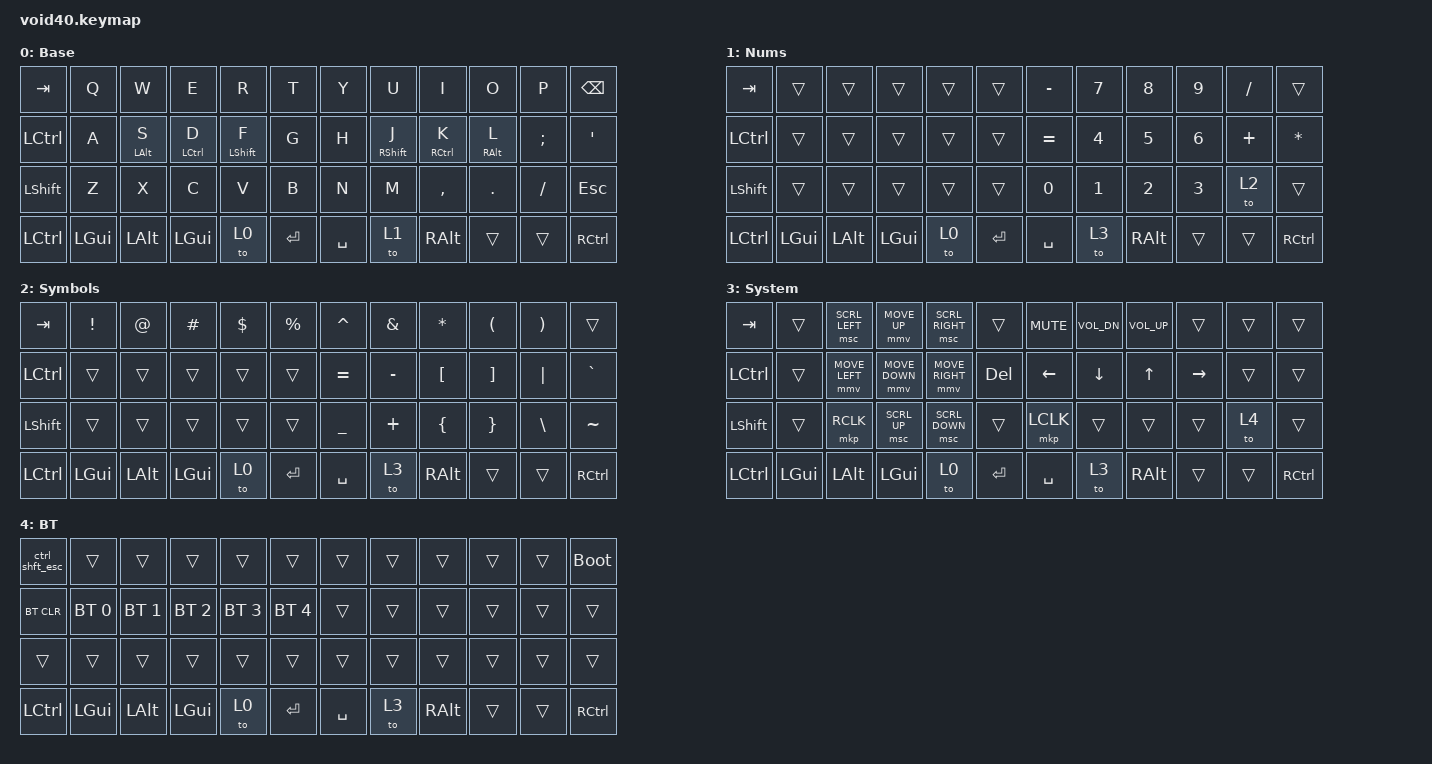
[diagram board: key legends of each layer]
/*
 * Copyright (c) 2020 The ZMK Contributors
 *
 * SPDX-License-Identifier: MIT
 */

#include <behaviors.dtsi>
#include <dt-bindings/zmk/keys.h>
#include <dt-bindings/zmk/bt.h>
#include <dt-bindings/zmk/mouse.h>
#include <behaviors/mouse_move.dtsi>
#include <behaviors/mouse_scroll.dtsi>

/ {
        behaviors {

                //////////////////////////////////////////////////////////////////////////
                //
                // Miryoku layers and home row mods (ported from my QMK endgame)
                // - https://sunaku.github.io/home-row-mods.html#porting-to-zmk
                // - https://github.com/urob/zmk-config#timeless-homerow-mods
                //
                //////////////////////////////////////////////////////////////////////////

                //
                // HOMEY_HOLDING_TYPE defines the flavor of ZMK hold-tap behavior to use
                // for the pinky, ring, and middle fingers (which are assigned to Super,
                // Alt, and Ctrl respectively in the Miryoku system) on home row keys.
                //
                #ifndef HOMEY_HOLDING_TYPE
                #define HOMEY_HOLDING_TYPE "tap-preferred"
                #endif

                //
                // HOMEY_HOLDING_TIME defines how long you need to hold (milliseconds)
                // home row mod keys in order to send their modifiers to the computer
                // (i.e. "register" them) for mod-click mouse usage (e.g. Ctrl-Click).
                //
                #ifndef HOMEY_HOLDING_TIME
                #define HOMEY_HOLDING_TIME 270 // TAPPING_TERM + ALLOW_CROSSOVER_AFTER
                #endif

                //
                // HOMEY_STREAK_DECAY defines how long you need to wait (milliseconds)
                // after typing before you can use home row mods again.  It prevents
                // unintended activation of home row mods when you're actively typing.
                //
                #ifndef HOMEY_STREAK_DECAY
                #define HOMEY_STREAK_DECAY 170 // global-quick-tap-ms
                #endif

                //
                // HOMEY_REPEAT_DECAY defines how much time you have left (milliseconds)
                // after tapping a key to hold it again in order to make it auto-repeat.
                //
                #ifndef HOMEY_REPEAT_DECAY
                #define HOMEY_REPEAT_DECAY 300 // "tap then hold" for key auto-repeat
                #endif

                //
                // SHIFT_HOLDING_TYPE defines the flavor of ZMK hold-tap behavior to use
                // for index fingers (which Miryoku assigns to Shift) on home row keys.
                //
                // NOTE: The "tap-preferred" flavor of ZMK hold-tap for index finger keys
                // allows faster activation of the Shift modifier (without having to wait
                // for the modified key to be released as the "balanced" flavor requires).
                // Typing streaks and the `hold-trigger-on-release` setting are disabled
                // for the index fingers so as not to hinder their speed and dexterity.
                //
                #ifndef SHIFT_HOLDING_TYPE
                #define SHIFT_HOLDING_TYPE "tap-preferred"
                #endif

                //
                // SHIFT_HOLDING_TIME defines how long you need to hold (milliseconds)
                // index finger keys in order to send their modifiers to the computer
                // (i.e. "register" them) for mod-click mouse usage (e.g. Shift-Click).
                //
                // CAUTION: You'll need to perform inward rolls from pinky->ring->middle
                // fingers toward the index fingers when activating multiple modifiers
                // because `hold-trigger-on-release` is disabled for the index fingers.
                // Otherwise, you may be surprised that the index fingers' modifier is
                // sent immediately without the rest of your multi-mod chord when you
                // perform outward rolls from your index fingers toward your pinkies.
                //
                #ifndef SHIFT_HOLDING_TIME
                #define SHIFT_HOLDING_TIME 170
                #endif

                //
                // SHIFT_STREAK_DECAY defines how long you need to wait (milliseconds)
                // after typing before you can use home row mods again.  It prevents
                // unintended activation of home row mods when you're actively typing.
                //
                #ifndef SHIFT_STREAK_DECAY
                #define SHIFT_STREAK_DECAY 70 // global-quick-tap-ms
                #endif

                //
                // SHIFT_REPEAT_DECAY defines how much time you have left (milliseconds)
                // after tapping a key to hold it again in order to make it auto-repeat.
                //
                #ifndef SHIFT_REPEAT_DECAY
                #define SHIFT_REPEAT_DECAY 300 // "tap then hold" for key auto-repeat
                #endif

                //
                // THUMB_HOLDING_TYPE defines the flavor of ZMK hold-tap behavior to use
                // for the thumbs (which are assigned to 6 layers in the Miryoku system).
                //
                // NOTE: The "balanced" flavor of ZMK hold-tap provides instant modifier
                // activation for the symbol layer (if the tapped symbol key is released
                // while the thumb layer key is still held down) for quicker programming.
                //
                #ifndef THUMB_HOLDING_TYPE
                #define THUMB_HOLDING_TYPE "balanced"
                #endif

                //
                // THUMB_HOLDING_TIME defines how long you need to hold (milliseconds)
                // a thumb key to activate a layer.  Shorter holds are treated as taps.
                //
                #ifndef THUMB_HOLDING_TIME
                #define THUMB_HOLDING_TIME 200
                #endif

                //
                // THUMB_REPEAT_DECAY defines how much time you have left (milliseconds)
                // after tapping a key to hold it again in order to make it auto-repeat.
                //
                #ifndef THUMB_REPEAT_DECAY
                #define THUMB_REPEAT_DECAY 300 // "tap then hold" for key auto-repeat
                #endif

                //
                // SPACE_HOLDING_TIME defines how long you need to hold (milliseconds)
                // the space thumb key to activate.  Shorter holds are treated as taps.
                //
                #ifndef SPACE_HOLDING_TIME
                #define SPACE_HOLDING_TIME 170
                #endif

                //
                // SPACE_REPEAT_DECAY defines how much time you have left (milliseconds)
                // after tapping a key to hold it again in order to make it auto-repeat.
                //
                #ifndef SPACE_REPEAT_DECAY
                #define SPACE_REPEAT_DECAY 200 // "tap then hold" for key auto-repeat
                #endif

                //
                // Corne key positions index for positional hold-tap
                // - https://discord.com/channels/877392805654306816/937645688244826154/1066713913351221248
                // - https://media.discordapp.net/attachments/937645688244826154/1066713913133121556/image.png
                //
                // |------------------------|------------------------|
                // | LEFT_HAND_KEYS         |        RIGHT_HAND_KEYS |
                // |                        |                        |
                // |  0  1  2  3  4  5      |      6  7  8  9  10 11 |
                // | 12 13 14 15 16 17      |      18 19 20 21 22 23 |
                // | 24 25 26 27 28 29      |      30 31 32 33 34 35 |
                // | 36 37 38 39 40 41      |      42 43 44 45 46 47 |
                // |------------------------|------------------------|
                //
                #define LEFT_HAND_KEYS         \
                         0  1  2  3  4  5      \
                        12 13 14 15 16 17      \
                        24 25 26 27 28 29      \
                #define RIGHT_HAND_KEYS        \
                                         6  7  8  9 10 11 \
                                        18 19 20 21 22 23 \
                                        30 31 32 33 34 35 \
                #define THUMB_KEYS          \
                                36 37 38 39 40 41   42 43 44 45 46 47          \

                //
                // Home row mod-tap keys for all except index fingers
                //
                hml: corne_home_row_mods_left_hand {
                        compatible = "zmk,behavior-hold-tap";
                        label = "HOME_ROW_MODS_LEFT_HAND";
                        flavor = HOMEY_HOLDING_TYPE;
                        hold-trigger-key-positions = <6  7  8  9 10 11
                                                     18 19 20 21 22 23
                                                     30 31 32 33 34 35
                                                     36 37 38 39 40 41 42 43 44 45 46 47>;
                        hold-trigger-on-release; // wait for other home row mods
                        tapping-term-ms = <HOMEY_HOLDING_TIME>;
                        quick-tap-ms = <HOMEY_REPEAT_DECAY>;
                        require-prior-idle-ms = <HOMEY_STREAK_DECAY>;
                        #binding-cells = <2>;
                        bindings = <&kp>, <&kp>;
                };
                 hmr: corne_home_row_mods_right_hand {
                        compatible = "zmk,behavior-hold-tap";
                        label = "HOME_ROW_MODS_RIGHT_HAND";
                        flavor = HOMEY_HOLDING_TYPE;
                        hold-trigger-key-positions = <0  1  2  3  4  5
                                                     12 13 14 15 16 17
                                                     24 25 26 27 28 29
                                                     36 37 38 39 40 41 42 43 44 45 46 47>;
                        hold-trigger-on-release; // wait for other home row mods
                        tapping-term-ms = <HOMEY_HOLDING_TIME>;
                        quick-tap-ms = <HOMEY_REPEAT_DECAY>;
                        require-prior-idle-ms = <HOMEY_STREAK_DECAY>;
                        #binding-cells = <2>;
                        bindings = <&kp>, <&kp>;
                 };

                //
                // Special home row mod-tap keys for the index fingers
                //
                shl: corne_home_row_mods_left_shift_shift {
                        compatible = "zmk,behavior-hold-tap";
                        label = "HOME_ROW_MODS_LEFT_SHIFT_SHIFT";
                        flavor = SHIFT_HOLDING_TYPE;
                        hold-trigger-key-positions = <6  7  8  9 10 11
                                                     18 19 20 21 22 23
                                                     30 31 32 33 34 35
                                                     36 37 38 39 40 41 42 43 44 45 46 47>;
                        //hold-trigger-on-release; // don't wait for other mods
                        tapping-term-ms = <SHIFT_HOLDING_TIME>;
                        quick-tap-ms = <SHIFT_REPEAT_DECAY>;
                        require-prior-idle-ms = <SHIFT_STREAK_DECAY>;
                        #binding-cells = <2>;
                        bindings = <&kp>, <&kp>;
                };
                shr: corne_home_row_mods_right_shift_shift {
                        compatible = "zmk,behavior-hold-tap";
                        label = "HOME_ROW_MODS_RIGHT_SHIFT_SHIFT";
                        flavor = SHIFT_HOLDING_TYPE;
                        hold-trigger-key-positions = <0  1  2  3  4  5
                                                     12 13 14 15 16 17
                                                     24 25 26 27 28 29
                                                     36 37 38 39 40 41 42 43 44 45 46 47>;
                        //hold-trigger-on-release; // don't wait for other mods
                        tapping-term-ms = <SHIFT_HOLDING_TIME>;
                        quick-tap-ms = <SHIFT_REPEAT_DECAY>;
                        require-prior-idle-ms = <SHIFT_STREAK_DECAY>;
                        #binding-cells = <2>;
                        bindings = <&kp>, <&kp>;
                };
        };

        macros {
                ctrl_shft_esc: ctrl_shft_esc {
                        compatible = "zmk,behavior-macro";
                        #binding-cells = <0>;
                        bindings
                                = <&macro_press &kp LCTRL &kp LSHFT>
                                , <&macro_tap &kp ESC>
                                , <&macro_release &kp LCTRL &kp LSHFT>
                                ;
                        };
                };

        combos {
                compatible = "zmk,combos";
                combo_tab {
                        timeout-ms = <50>;
                        key-positions = <1 2>;
                        bindings = <&kp TAB>;
                };
                combo_bspc {
                        timeout-ms = <50>;
                        key-positions = <9 10>;
                        bindings = <&kp BSPC>;
                };
                combo_sqt {
                        timeout-ms = <50>;
                        key-positions = <21 22>;
                        bindings = <&kp SQT>;
                };
                combo_esc {
                        timeout-ms = <50>;
                        key-positions = <33 34>;
                        bindings = <&kp ESC>;
                };
        };

        keymap {
                compatible = "zmk,keymap";

                default_layer {
// -----------------------------------------------------------------------------------------
// |  TAB |  Q  |  W  |  E  |  R  |  T  |   |  Y  |  U  |  I  |  O  |  P  | BKSP |
// | CTRL |  A  |LAL S|LCT D|LSH F|  G  |   |  H  |RSH J|RCT K|RAL L|  ;  |  '   |
// | SHFT |  Z  |  X  |  C  |  V  |  B  |   |  N  |  M  |  ,  |  .  |  /  | ESC  |
// | CTRL | GUI |LALT | GUI | L-0 | ENT |   | SPC | L-1 | ALT |     |     | CTRL |
                        label = "Base";
                        bindings = <
   &kp TAB    &kp Q     &kp W       &kp E        &kp R         &kp T      &kp Y      &kp U         &kp I        &kp O       &kp P     &kp BSPC
   &kp LCTRL  &kp A     &hml LALT S  &hml LCTRL D  &hml LSHIFT F  &kp G      &kp H      &hmr RSHIFT J  &hmr RCTRL K  &hmr RALT L  &kp SEMI  &kp SQT
   &kp LSHFT  &kp Z     &kp X       &kp C        &kp V         &kp B      &kp N      &kp M         &kp COMMA    &kp DOT     &kp FSLH  &kp ESC
   &kp LCTRL  &kp LGUI  &kp LALT    &kp LGUI     &to 0         &kp RET    &kp SPACE  &to 1         &kp RALT     &trans      &trans    &kp RCTRL
                        >;
                };

                nums_layer {
// -----------------------------------------------------------------------------------------
// |  TAB |     |     |     |     |     |   |  -  |  7  |  8  |  9  |  /  |      |
// | CTRL |     |     |     |     |     |   |  =  |  4  |  5  |  6  |  +  |  *   |
// | SHFT |     |     |     |     |     |   |  0  |  1  |  2  |  3  | L-2 |      |
// | CTRL | GUI | ALT | GUI | L-0 | ENT |   | SPC | L-3 | ALT |     |     | CTRL |
                        label = "Nums";
                        bindings = <
   &kp TAB   &trans   &trans   &trans   &trans &trans    &kp MINUS &kp N7 &kp N8   &kp N9 &kp FSLH &trans
   &kp LCTRL &trans   &trans   &trans   &trans &trans    &kp EQUAL &kp N4 &kp N5   &kp N6 &kp PLUS &kp STAR
   &kp LSHFT &trans   &trans   &trans   &trans &trans    &kp N0    &kp N1 &kp N2   &kp N3 &to 2    &trans
   &kp LCTRL &kp LGUI &kp LALT &kp LGUI &to 0  &kp RET   &kp SPACE &to 3  &kp RALT &trans &trans   &kp RCTRL
                        >;
                };

                syms_layer {
// -----------------------------------------------------------------------------------------
// |  TAB |  !  |  @  |  #  |  $  |  %  |   |  ^  |  &  |  *  |  (  |  )  |      |
// | CTRL |     |     |     |     |     |   |  =  |  -  |  [  |  ]  | "|" |  `   |
// | SHFT |     |     |     |     |     |   |  _  |  +  |  {  |  }  |  \  |  ~   |
// | CTRL | GUI | ALT | GUI | L-0 | ENT |   | SPC | L-1 | ALT |     |     | CTRL |
                        label = "Symbols";
                        bindings = <
   &kp  TAB  &kp EXCL &kp AT &kp HASH &kp DLLR &kp PRCNT   &kp CARET &kp AMPS  &kp STAR &kp LPAR &kp RPAR &trans
   &kp LCTRL &trans   &trans   &trans   &trans   &trans      &kp EQUAL &kp MINUS &kp LBKT &kp RBKT &kp PIPE &kp GRAVE
   &kp LSHFT &trans   &trans   &trans   &trans   &trans      &kp UNDER &kp PLUS  &kp LBRC &kp RBRC &kp BSLH &kp TILDE
   &kp LCTRL &kp LGUI &kp LALT &kp LGUI &to 0   &kp RET      &kp SPACE &to 3     &kp RALT &trans   &trans   &kp RCTRL
                        >;
                };

                sys_layer {
// -----------------------------------------------------------------------------------------
// |  TAB |     | SCRL |  MSU | SCRR |     |   | MUTE | VOLD | VOLU |     |     |      |
// | CTRL |     |  MSL |  MSD | MSR  | DEL |   |  LFT |  DWN |   UP | RGT |     |      |
// | SHFT |     | RCLK | SCRU | SCRD |     |   | LCLK |      |      |     | L-4 |      |
// | CTRL | GUI | ALT  |  GUI |  L-0 | ENT |   |  SPC |  L-1 |  ALT |     |     | CTRL |
                        label = "System";
                        bindings = <
   &kp TAB   &trans   &msc SCRL_LEFT &mmv MOVE_UP   &msc SCRL_RIGHT &trans    &kp C_MUTE &kp C_VOL_DN &kp C_VOL_UP &trans    &trans &trans
   &kp LCTRL &trans   &mmv MOVE_LEFT &mmv MOVE_DOWN &mmv MOVE_RIGHT &kp DEL   &kp LEFT   &kp DOWN     &kp UP       &kp RIGHT &trans &trans 
   &kp LSHFT &trans   &mkp RCLK      &msc SCRL_UP   &msc SCRL_DOWN  &trans    &mkp LCLK  &trans       &trans       &trans    &to 4  &trans 
   &kp LCTRL &kp LGUI &kp LALT       &kp LGUI       &to 0           &kp RET   &kp SPACE  &to 3        &kp RALT     &trans    &trans &kp RCTRL
                        >;
                };

                bt_layer{
// -----------------------------------------------------------------------------------------
// | CTRL-SHFT-ESC |     |     |     |     |     |   |     |     |     |     |     | boot |
// | BTCLR         | BT1 | BT2 | BT3 | BT4 | BT5 |   |     |     |     |     |     |      |
// |               |     |     |     |     |     |   |     |     |     |     |     |      |
// | CTRL          | GUI | ALT | GUI | L-0 | ENT |   | SPC | L-1 | ALT |     |     | CTRL |
                        label = "BT";
                        bindings = <
   &ctrl_shft_esc &trans       &trans       &trans       &trans       &trans         &trans    &trans &trans   &trans &trans &bootloader
   &bt BT_CLR     &bt BT_SEL 0 &bt BT_SEL 1 &bt BT_SEL 2 &bt BT_SEL 3 &bt BT_SEL 4   &trans    &trans &trans   &trans &trans &trans
   &trans         &trans       &trans       &trans       &trans       &trans         &trans    &trans &trans   &trans &trans &trans
   &kp LCTRL      &kp LGUI     &kp LALT     &kp LGUI     &to 0        &kp RET        &kp SPACE &to 3  &kp RALT &trans &trans &kp RCTRL
                        >;
                };
        };
};
